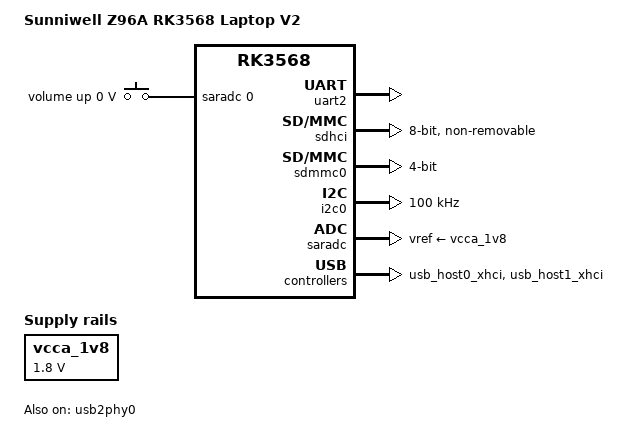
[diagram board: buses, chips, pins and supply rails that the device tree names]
// SPDX-License-Identifier: (GPL-2.0+ OR MIT)
/*
 * Sunniwell Z96A RK3568 Laptop V2 — U-Boot DT
 * Recovery/download key from FACTORY U-Boot DTB (z96a-extract/factory.dts):
 *   adc-keys ch0, label "volume up", press-threshold-microvolt = <0x09>
 * Android kernel DTB has the same ladder but status=disabled (runtime keys
 * unused); reboot-mode recovery is a separate syscon path (0x5242c303).
 * Case silkscreen "Recovery" == this volume-up ADC key -> Rockchip download,
 * NOT Android /recovery partition by itself.
 */

/dts-v1/;

#include <dt-bindings/gpio/gpio.h>
#include <dt-bindings/input/input.h>
#include <dt-bindings/pinctrl/rockchip.h>
#include "rk3568.dtsi"

/ {
	model = "Sunniwell Z96A RK3568 Laptop V2";
	compatible = "sunniwell,z96a-rk3568-laptop-v2", "rockchip,rk3568";

	aliases {
		mmc0 = &sdhci;
		mmc1 = &sdmmc0;
		serial2 = &uart2;
		i2c0 = &i2c0;
	};

	chosen {
		stdout-path = "serial2:1500000n8";
	};

	/* SARADC VREF — Android/factory kernel use vcca 1.8V; factory U-Boot
	 * extract omitted vref-supply but mainline rockchip_saradc needs it. */
	vcca_1v8: regulator-vcca-1v8 {
		compatible = "regulator-fixed";
		regulator-name = "vcca_1v8";
		regulator-always-on;
		regulator-boot-on;
		regulator-min-microvolt = <1800000>;
		regulator-max-microvolt = <1800000>;
		bootph-all;
	};

	/* Factory U-Boot: only volume-up on ch0, threshold 0x09 (9 uV) */
	adc-keys {
		compatible = "adc-keys";
		io-channels = <&saradc 0>;
		io-channel-names = "buttons";
		keyup-threshold-microvolt = <1800000>;
		status = "okay";
		bootph-all;

		volumeup-key {
			label = "volume up";
			linux,code = <KEY_VOLUMEUP>;
			/* factory.dts: press-threshold-microvolt = <0x09> */
			press-threshold-microvolt = <9>;
			bootph-all;
		};
	};
};

&uart2 {
	pinctrl-0 = <&uart2m0_xfer>;
	status = "okay";
};

&sdhci {
	bus-width = <8>;
	cap-mmc-highspeed;
	mmc-hs200-1_8v;
	non-removable;
	status = "okay";
};

&sdmmc0 {
	bus-width = <4>;
	cap-sd-highspeed;
	disable-wp;
	status = "okay";
};

&i2c0 {
	status = "okay";
	clock-frequency = <100000>;
};

&saradc {
	vref-supply = <&vcca_1v8>;
	status = "okay";
	bootph-all;
};

&usb_host0_xhci {
	status = "okay";
};

&usb_host1_xhci {
	status = "okay";
};

&usb2phy0 {
	status = "okay";
};
